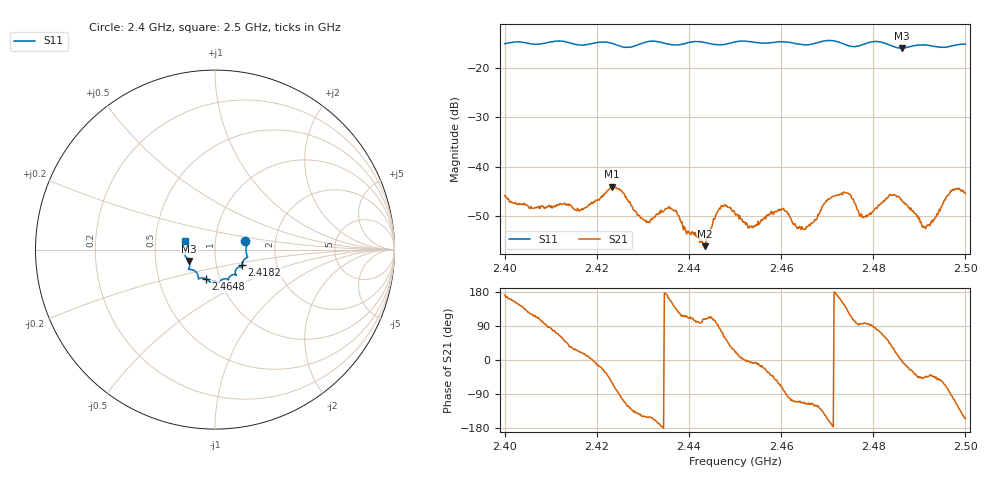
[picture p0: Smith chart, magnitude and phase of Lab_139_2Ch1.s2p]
# Hz S RI R 50
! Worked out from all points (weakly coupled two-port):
!   601 points, 2.4 GHz to 2.5 GHz, reference 50 ohm
!   highest |S21| = -44.02 dB at 2.4233 GHz (marker M1); lowest = -56.1 dB at 2.4435 GHz (marker M2)
!   lowest |S11| = -16.0 dB at 2.4862 GHz (marker M3), VSWR 1.38, Z = 37.1 - j4.82 ohm
!   |S11| at or under -10 dB: start of sweep to end of sweep
!   S12 and S22 are empty: the file has one direction only
!   S11 on the Smith chart (normalised r, x): 2.4 GHz: 1.40, +0.13; 2.4182 GHz: 1.33, -0.23; 2.4648 GHz: 0.86, -0.29; 2.5 GHz: 0.71, +0.07
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2.4e9  0.1687 0.0459  -0.00504 0.00077  0 0  0 0
2.416667e9  0.1549 -0.0685  0.00345 0.00121  0 0  0 0
2.418167e9  0.1496 -0.0851  0.00399 0.000725  0 0  0 0
2.423333e9  0.1472 -0.0971  0.00308 -0.0055  0 0  0 0
2.430667e9  0.1156 -0.1407  -0.0025 -0.00143  0 0  0 0
2.433333e9  0.1165 -0.1414  -0.00327 -0.0007  0 0  0 0
2.436833e9  0.0915 -0.1433  -0.0028 0.00229  0 0  0 0
2.4435e9  0.0703 -0.1656  -0.000508 0.00149  0 0  0 0
2.446833e9  0.0453 -0.1644  0.000612 0.00369  0 0  0 0
2.45e9  0.0252 -0.1807  0.00311 0.0012  0 0  0 0
2.453333e9  0.0172 -0.1826  0.00246 -0.0003  0 0  0 0
2.460333e9  -0.0288 -0.181  0.00094 -0.00361  0 0  0 0
2.464833e9  -0.051 -0.163  -0.000955 -0.00212  0 0  0 0
2.466667e9  -0.0713 -0.1576  -0.00113 -0.00243  0 0  0 0
2.4715e9  -0.0921 -0.1625  -0.00503 9.58e-05  0 0  0 0
2.474667e9  -0.0992 -0.134  -0.00304 0.00436  0 0  0 0
2.478167e9  -0.1345 -0.1109  -0.00043 0.0031  0 0  0 0
2.483333e9  -0.142 -0.096  0.00323 0.00382  0 0  0 0
2.486167e9  -0.1447 -0.0634  0.00464 -9.7e-05  0 0  0 0
2.491167e9  -0.1671 -0.0324  0.00173 -0.00175  0 0  0 0
2.496833e9  -0.1631 0.0258  -0.000108 -0.00574  0 0  0 0
2.5e9  -0.1666 0.0467  -0.00487 -0.00228  0 0  0 0
